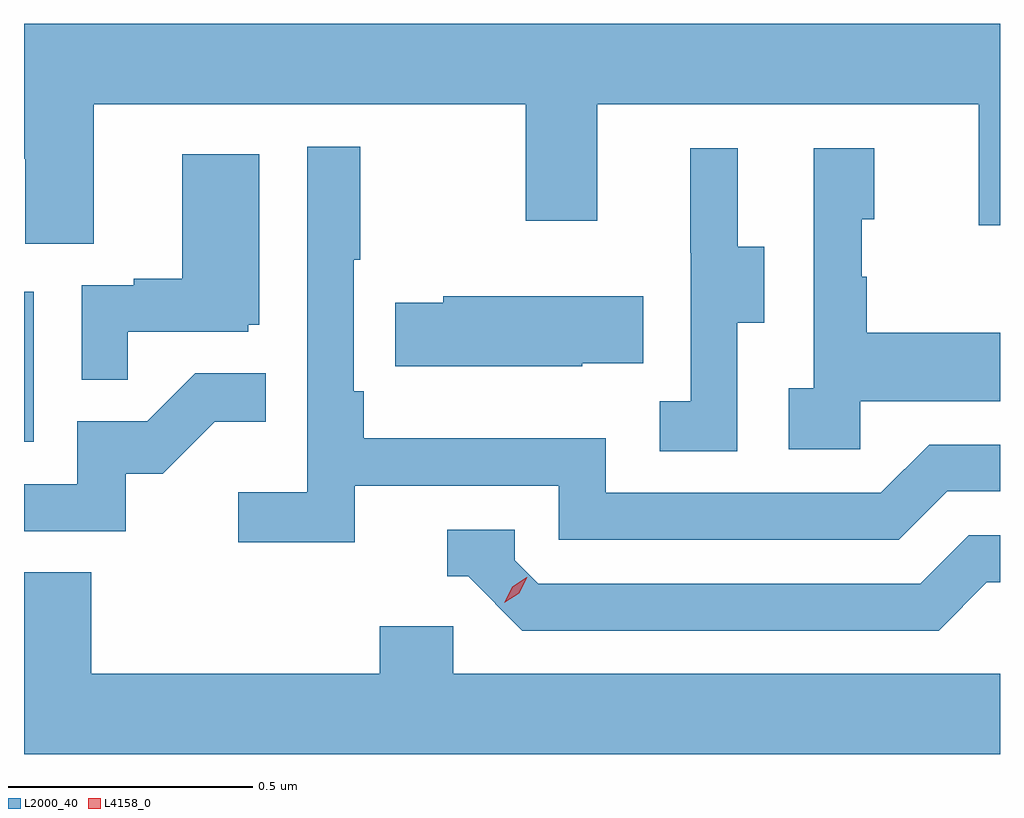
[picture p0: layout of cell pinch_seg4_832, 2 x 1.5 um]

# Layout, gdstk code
import gdstk
lib = gdstk.Library(unit=1e-6, precision=1e-09)
def R(c, l, rs):  # rectangles x0, y0, x1, y1
    for r in rs: c.add(gdstk.rectangle(r[:2], r[2:], *l))
def P(c, l, *ps):  # polygons
    for p in ps: c.add(gdstk.Polygon(p, *l))
L2000_40 = (2000, 40)
L4158_0 = (4158, 0)

pinch_seg4_832 = lib.new_cell('pinch_seg4_832')
R(pinch_seg4_832, L2000_40, [(821.252,802.788,821.272,803.095)])
P(pinch_seg4_832, L2000_40, [(821.395,803.48),(822.28,803.48),(822.28,803.241),(822.427,803.241),(822.427,803.48),(823.208,803.48),(823.208,803.232),(823.252,803.232),(823.252,803.644),(821.252,803.644),(821.252,803.368),(821.255,803.368),(821.255,803.194),(821.395,803.194)],
  [(821.93,802.698),(822.348,802.698),(822.348,802.587),(823.045,802.587),(823.144,802.686),(823.252,802.686),(823.252,802.782),(823.107,802.782),(823.008,802.683),(822.444,802.683),(822.444,802.795),(821.948,802.795),(821.948,802.891),(821.928,802.891),(821.928,803.161),(821.941,803.161),(821.941,803.392),(821.832,803.392),(821.832,802.684),(821.691,802.684),(821.691,802.582),(821.93,802.582)],
  [(822.714,803.032),(822.769,803.032),(822.769,803.187),(822.715,803.187),(822.715,803.389),(822.617,803.389),(822.617,803.175),(822.618,803.175),(822.618,802.871),(822.555,802.871),(822.555,802.768),(822.714,802.768)],
  [(822.966,802.871),(823.252,802.871),(823.252,803.011),(822.979,803.011),(822.979,803.126),(822.969,803.126),(822.969,803.244),(822.994,803.244),(822.994,803.389),(822.87,803.389),(822.87,802.898),(822.819,802.898),(822.819,802.773),(822.966,802.773)],
  [(821.465,803.013),(821.712,803.013),(821.712,803.028),(821.734,803.028),(821.734,803.377),(821.576,803.377),(821.576,803.122),(821.477,803.122),(821.477,803.109),(821.37,803.109),(821.37,802.915),(821.465,802.915)],
  [(822.396,802.949),(822.521,802.949),(822.521,803.086),(822.111,803.086),(822.111,803.073),(822.013,803.073),(822.013,802.943),(822.396,802.943)],
  [(821.46,802.722),(821.536,802.722),(821.643,802.829),(821.747,802.829),(821.747,802.928),(821.603,802.928),(821.505,802.83),(821.361,802.83),(821.361,802.701),(821.252,802.701),(821.252,802.605),(821.46,802.605)],
  [(823.225,802.5),(823.252,802.5),(823.252,802.596),(823.188,802.596),(823.089,802.497),(822.306,802.497),(822.258,802.545),(822.258,802.608),(822.119,802.608),(822.119,802.512),(822.162,802.512),(822.273,802.401),(823.126,802.401)],
  [(823.252,802.312),(822.132,802.312),(822.132,802.41),(821.981,802.41),(821.981,802.312),(821.39,802.312),(821.39,802.52),(821.252,802.52),(821.252,802.148),(823.252,802.148)])
P(pinch_seg4_832, L4158_0, [(822.236,802.458),(822.236,802.458),(822.252,802.491),(822.282,802.51),(822.283,802.51),(822.283,802.51),(822.267,802.477),(822.236,802.458)])

lib.write_gds('pinch_seg4_832.gds')
